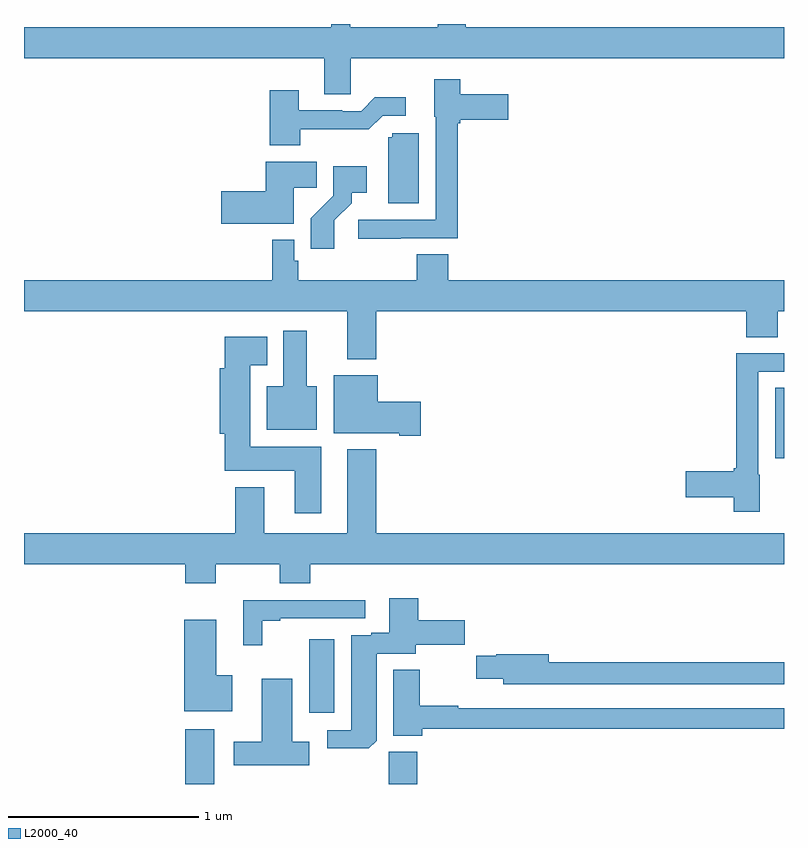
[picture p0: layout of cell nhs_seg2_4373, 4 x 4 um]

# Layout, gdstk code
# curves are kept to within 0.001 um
import gdstk
lib = gdstk.Library(unit=1e-6, precision=1e-09)
def R(c, l, rs):  # rectangles x0, y0, x1, y1
    for r in rs: c.add(gdstk.rectangle(r[:2], r[2:], *l))
def P(c, l, *ps):  # polygons
    for p in ps: c.add(gdstk.Polygon(p, *l))
L2000_40 = (2000, 40)

nhs_seg2_4373 = lib.new_cell('nhs_seg2_4373')
R(nhs_seg2_4373, L2000_40, [(347.849,659.8,348.001,660.088), (348.919,659.8,349.07,659.97), (348.5,660.174,348.634,660.562), (350.954,661.515,351,661.886)])
P(nhs_seg2_4373, L2000_40, [(348.716,663.8),(348.617,663.8),(348.617,663.784),(347,663.784),(347,663.62),(348.581,663.62),(348.581,663.43),(348.72,663.43),(348.72,663.62),(351,663.62),(351,663.784),(349.324,663.784),(349.324,663.8),(349.177,663.8),(349.177,663.784),(348.716,663.784)],
  [(348.983,662.673),(349.283,662.673),(349.283,663.278),(349.296,663.278),(349.296,663.296),(349.549,663.296),(349.549,663.43),(349.296,663.43),(349.296,663.508),(349.16,663.508),(349.16,663.312),(349.167,663.312),(349.167,662.769),(348.759,662.769),(348.759,662.671),(348.983,662.671)],
  [(348.453,663.246),(348.815,663.245),(348.888,663.318),(349.009,663.318),(349.009,663.415),(348.847,663.415),(348.774,663.342),(348.674,663.342),(348.674,663.345),(348.445,663.345),(348.445,663.451),(348.293,663.451),(348.293,663.161),(348.453,663.161)],
  [(349.078,663.225),(348.939,663.225),(348.939,663.204),(348.917,663.204),(348.917,662.856),(349.078,662.856)],
  [(348.421,662.938),(348.542,662.938),(348.542,663.076),(348.272,663.076),(348.272,662.921),(348.039,662.921),(348.039,662.75),(348.421,662.75)],
  [(348.634,662.767),(348.724,662.857),(348.724,662.912),(348.805,662.912),(348.805,663.052),(348.627,663.052),(348.627,662.897),(348.508,662.778),(348.508,662.616),(348.634,662.616)],
  [(348.854,662.288),(350.801,662.288),(350.801,662.152),(350.966,662.152),(350.966,662.288),(351,662.288),(351,662.452),(349.232,662.452),(349.232,662.588),(349.067,662.588),(349.067,662.452),(348.443,662.452),(348.443,662.553),(348.423,662.553),(348.423,662.665),(348.307,662.665),(348.307,662.452),(347,662.452),(347,662.288),(348.701,662.288),(348.701,662.036),(348.854,662.036)],
  [(348.541,661.894),(348.487,661.894),(348.487,662.185),(348.365,662.185),(348.365,661.894),(348.278,661.894),(348.278,661.664),(348.541,661.664)],
  [(348.565,661.576),(348.19,661.576),(348.19,662.003),(348.28,662.003),(348.28,662.155),(348.056,662.155),(348.056,661.987),(348.029,661.987),(348.029,661.643),(348.056,661.643),(348.056,661.448),(348.425,661.448),(348.425,661.224),(348.565,661.224)],
  [(350.872,661.428),(350.865,661.428),(350.865,661.971),(351,661.971),(351,662.067),(350.749,662.067),(350.749,661.463),(350.736,661.463),(350.736,661.445),(350.484,661.445),(350.484,661.31),(350.736,661.31),(350.736,661.232),(350.872,661.232)],
  [(349.087,661.812),(348.862,661.812),(348.862,661.951),(348.629,661.951),(348.629,661.646),(348.974,661.646),(348.974,661.634),(349.087,661.634)],
  [(348.009,660.956),(348.346,660.956),(348.346,660.857),(348.506,660.857),(348.506,660.956),(351,660.956),(351,661.12),(348.854,661.12),(348.854,661.561),(348.701,661.561),(348.701,661.12),(348.265,661.12),(348.265,661.363),(348.113,661.363),(348.113,661.12),(347,661.12),(347,660.956),(347.849,660.956),(347.849,660.857),(348.009,660.857)],
  [(348.856,660.028),(348.856,660.486),(349.063,660.486),(349.063,660.533),(349.319,660.533),(349.319,660.663),(349.076,660.663),(349.076,660.778),(348.923,660.778),(348.923,660.595),(348.827,660.595),(348.827,660.582),(348.722,660.582),(348.722,660.084),(348.597,660.084),(348.597,659.987),(348.815,659.987)],
  [(348.255,660.66),(348.349,660.66),(348.349,660.672),(348.796,660.672),(348.796,660.768),(348.155,660.768),(348.155,660.531),(348.255,660.531)],
  [(348.097,660.373),(348.013,660.373),(348.013,660.664),(347.843,660.664),(347.843,660.182),(348.097,660.182)],
  [(351,660.44),(349.762,660.44),(349.762,660.483),(349.486,660.483),(349.486,660.475),(349.381,660.475),(349.381,660.353),(349.523,660.353),(349.523,660.324),(351,660.324)],
  [(349.097,660.09),(351,660.09),(351,660.198),(349.286,660.198),(349.286,660.211),(349.084,660.211),(349.084,660.401),(348.944,660.401),(348.944,660.055),(349.097,660.055)],
  [(348.502,660.022),(348.412,660.022),(348.412,660.355),(348.251,660.355),(348.251,660.022),(348.105,660.022),(348.105,659.9),(348.502,659.9)])

lib.write_gds('nhs_seg2_4373.gds')
